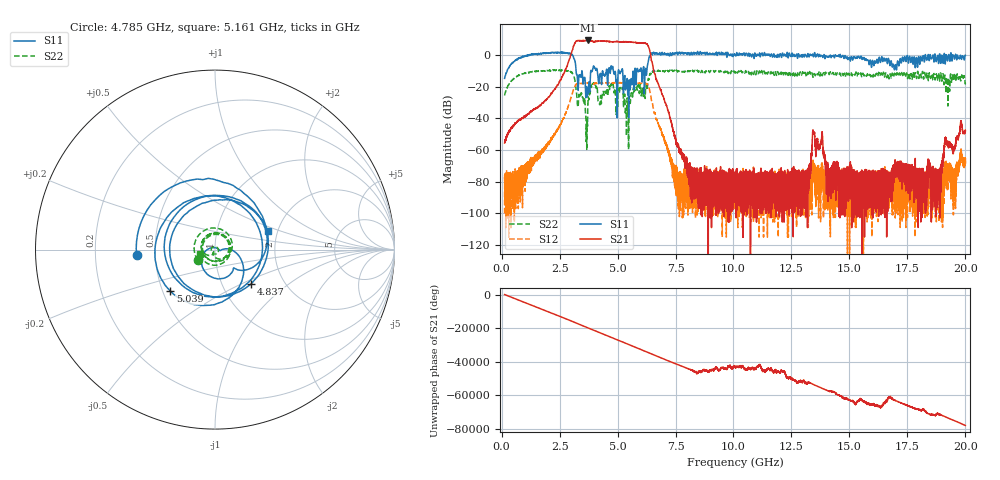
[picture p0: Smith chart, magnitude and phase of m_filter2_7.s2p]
!Created with skrf (http://scikit-rf.org).
# GHz S RI R 50.0
!freq ReS11 ImS11 ReS21 ImS21 ReS12 ImS12 ReS22 ImS22
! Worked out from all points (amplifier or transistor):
!   20013 points, 130 MHz to 20 GHz, reference 50 ohm
!   highest |S21| = 9.2 dB at 3.736 GHz (marker M1)
!   |S21| within 3 dB of that: 3.123 GHz to 6.3 GHz (3.176 GHz wide, 67.4 % of centre)
!   unconditionally stable (mu >= 1): start of sweep to 1.121 GHz; 3.099 GHz to 6.366 GHz; 14.61 GHz to 18.26 GHz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
!   at 3.465 GHz: K = 1.45, MAG = 9.5 dB, |S12| = -18.0 dB
!   at 10.14 GHz: K = -19575738.58, MSG = 3.4 dB, |S12| = -83.9 dB
!   at 20 GHz: K = 7072.25, MAG = -32.9 dB, |S12| = -65.1 dB
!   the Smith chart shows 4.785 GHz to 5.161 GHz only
!   S11 on the Smith chart (normalised r, x): 4.785 GHz: 0.39, -0.03; 4.837 GHz: 1.38, -0.57; 5.039 GHz: 0.55, -0.29; 5.161 GHz: 1.78, +0.40
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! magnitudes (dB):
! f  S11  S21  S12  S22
! 130 MHz  -14.7  -55.5  -100.1  -25.5
! 2.688 GHz  1.5  -11.6  -39.6  -9.6
! 3.442 GHz  -12.9  9.1  -17.9  -23.8
! 3.736 GHz  -24.5  9.2  -17.5  -26.6
! 3.94 GHz  -8.3  8.5  -18.0  -17.9
! 4.785 GHz  -7.2  8.3  -17.8  -19.1
! 4.837 GHz  -11.1  8.5  -17.4  -22.6
! 5.039 GHz  -9.4  8.3  -17.5  -20.9
! 5.161 GHz  -10.1  8.2  -17.5  -21.3
! 6.262 GHz  -10.0  7.1  -18.2  -21.0
! 6.754 GHz  0.5  -18.3  -43.1  -9.7
! 7.538 GHz  1.2  -55.6  -79.3  -9.6
! 8.24 GHz  1.2  -79.4  -79.3  -9.6
! 10.06 GHz  -0.1  -79.1  -82.2  -11.3
! 13.08 GHz  0.4  -80.9  -89.5  -11.0
! 13.38 GHz  -0.3  -60.7  -85.4  -11.1
! 13.79 GHz  -0.3  -54.2  -72.4  -11.4
! 14.17 GHz  -0.1  -75.0  -79.4  -10.8
! 16.69 GHz  -2.3  -76.2  -88.9  -13.6
! 18.82 GHz  -2.3  -75.2  -80.4  -12.0
! 19.17 GHz  0.1  -53.8  -74.7  -23.8
! 20 GHz  -0.1  -47.8  -65.1  -17.8
